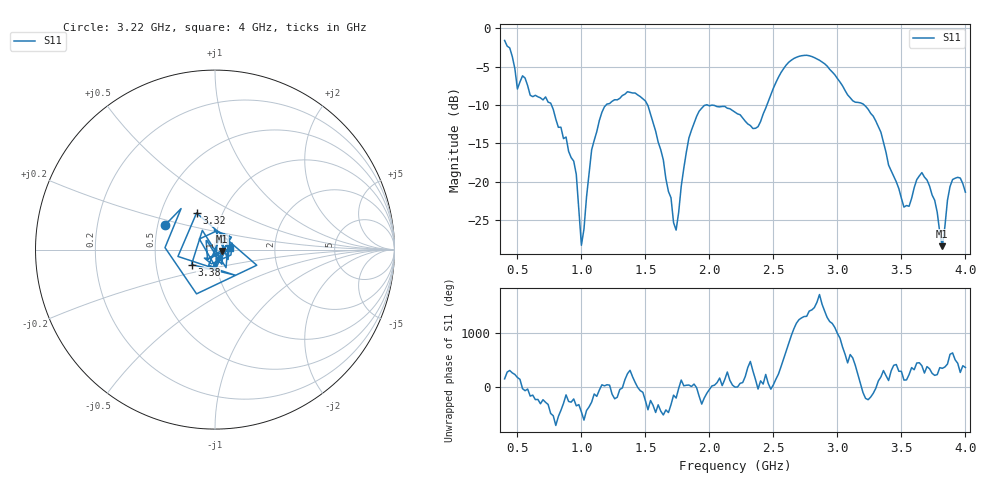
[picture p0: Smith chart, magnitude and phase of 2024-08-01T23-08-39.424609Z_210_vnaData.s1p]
!Created with skrf (http://scikit-rf.org).
# Hz S RI R 50.0
!freq ReS11 ImS11
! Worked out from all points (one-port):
!   181 points, 400 MHz to 4 GHz, reference 50 ohm
!   lowest |S11| = -28.4 dB at 3.82 GHz (marker M1), VSWR 1.08, Z = 53.9 - j0.794 ohm
!   |S11| at or under -10 dB: 1.517 GHz to 1.974 GHz (457.4 MHz wide, 26.2 % of centre); 1.984 GHz to 2.45 GHz (465.6 MHz wide, 21 % of centre); 3.209 GHz to end of sweep (the widest 3 of 4)
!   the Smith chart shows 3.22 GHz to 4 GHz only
!   S11 on the Smith chart (normalised r, x): 3.22 GHz: 0.55, +0.16; 3.32 GHz: 0.75, +0.32; 3.38 GHz: 0.76, -0.13; 4 GHz: 1.19, +0.02
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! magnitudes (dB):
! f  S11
! 400 MHz  -1.6
! 500 MHz  -7.9
! 720 MHz  -9.0
! 860 MHz  -14.4
! 960 MHz  -19.1
! 1 GHz  -28.3
! 1.08 GHz  -15.8
! 1.18 GHz  -10.2
! 1.3 GHz  -9.1
! 1.52 GHz  -10.1
! 1.72 GHz  -25.3
! 1.76 GHz  -24.0
! 1.84 GHz  -14.3
! 1.92 GHz  -10.8
! 2.2 GHz  -10.9
! 2.38 GHz  -12.8
! 2.66 GHz  -3.9
! 2.9 GHz  -4.6
! 3.1 GHz  -9.1
! 3.22 GHz  -10.2
! 3.32 GHz  -12.8
! 3.38 GHz  -16.2
! 3.56 GHz  -23.2
! 3.66 GHz  -18.8
! 3.76 GHz  -22.4
! 3.82 GHz  -28.4
! 3.9 GHz  -19.7
! 4 GHz  -21.4
